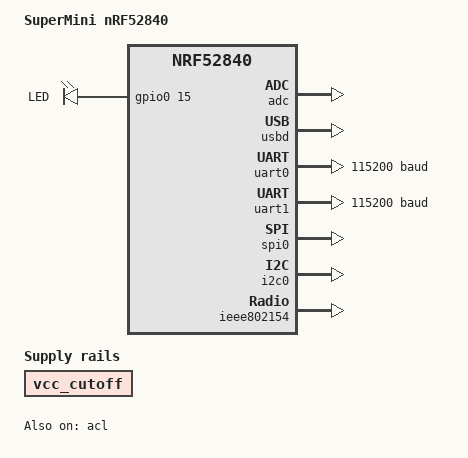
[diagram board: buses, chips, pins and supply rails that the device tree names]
// Copyright (c) 2024 Nordic Semiconductor ASA
// SPDX-License-Identifier: Apache-2.0

/dts-v1/;
#include <nordic/nrf52840_qiaa.dtsi>
#include "supermini_nrf52840-pinctrl.dtsi"
#include <zephyr/dt-bindings/input/input-event-codes.h>

/ {
	model = "SuperMini nRF52840";
	compatible = "docbender,supermini-nrf52840";

	chosen {
		zephyr,console = &uart0;
		zephyr,shell-uart = &uart0;
		zephyr,uart-mcumgr = &uart0;
		zephyr,bt-mon-uart = &uart0;
		zephyr,bt-c2h-uart = &uart0;
		zephyr,sram = &sram0;
		zephyr,flash = &flash0;
		zephyr,code-partition = &slot0_partition;
		zephyr,ieee802154 = &ieee802154;
	};

	leds {
		compatible = "gpio-leds";
		led0: led {
			label = "LED";
			gpios = <&gpio0 15 0>;
		};
	};

	vcc_cutoff: external-vcc-cutoff {
		regulator-name = "VCC Cutoff";
		compatible = "regulator-gpio";
		gpios = <&gpio0 13 0>;
		regulator-boot-on;
	};

	aliases {
		led0 = &led0;
	};
};

&adc {
	status = "okay";
};

&uicr {
	gpio-as-nreset;
};

&acl {
	status = "okay";
};

&gpiote {
	status = "okay";
};

zephyr_udc0: &usbd {
	status = "okay";
};

&gpio0 {
	status = "okay";
};

&gpio1 {
	status = "okay";
};

&uart0 {
	status = "okay";
	current-speed = <115200>;
	pinctrl-0 = <&uart0_default>;
	pinctrl-1 = <&uart0_sleep>;
	pinctrl-names = "default", "sleep";
};

&uart1 {
	status = "okay";
	current-speed = <115200>;
	pinctrl-0 = <&uart1_default>;
	pinctrl-1 = <&uart1_sleep>;
	pinctrl-names = "default", "sleep";
};


&spi0 {
	status = "okay";
	pinctrl-0 = <&spi0_default>;
	pinctrl-1 = <&spi0_sleep>;
	pinctrl-names = "default", "sleep";
	cs-gpios = <&gpio1 0 0>;
	max-frequency = <DT_FREQ_M(32)>;
	interrupts = <4>, <NRF_DEFAULT_IRQ_PRIORITY>;
};

&i2c0 {
	status = "okay";
	pinctrl-0 = <&i2c0_default>;
	pinctrl-1 = <&i2c0_sleep>;
	pinctrl-names = "default", "sleep";
};

&ieee802154 {
	status = "okay";
};

&flash0 {
	partitions {
		compatible = "fixed-partitions";
		#address-cells = <1>;
		#size-cells = <1>;


		boot_partition: partition@0 {
			label = "mcuboot";
			reg = <0x00000000 0x0000C000>;
		};
		slot0_partition: partition@c000 {
			label = "image-0";
			reg = <0x0000C000 0x00076000>;
		};
		slot1_partition: partition@82000 {
			label = "image-1";
			reg = <0x00082000 0x00076000>;
		};

		/*
		 * The flash starting at 0x000f8000 and ending at
		 * 0x000fffff is reserved for use by the application.
		 */

		/*
		 * Storage partition will be used by FCB/LittleFS/NVS
		 * if enabled.
		 */
		storage_partition: partition@f8000 {
			label = "storage";
			reg = <0x000f8000 0x00008000>;
		};
	};
};


